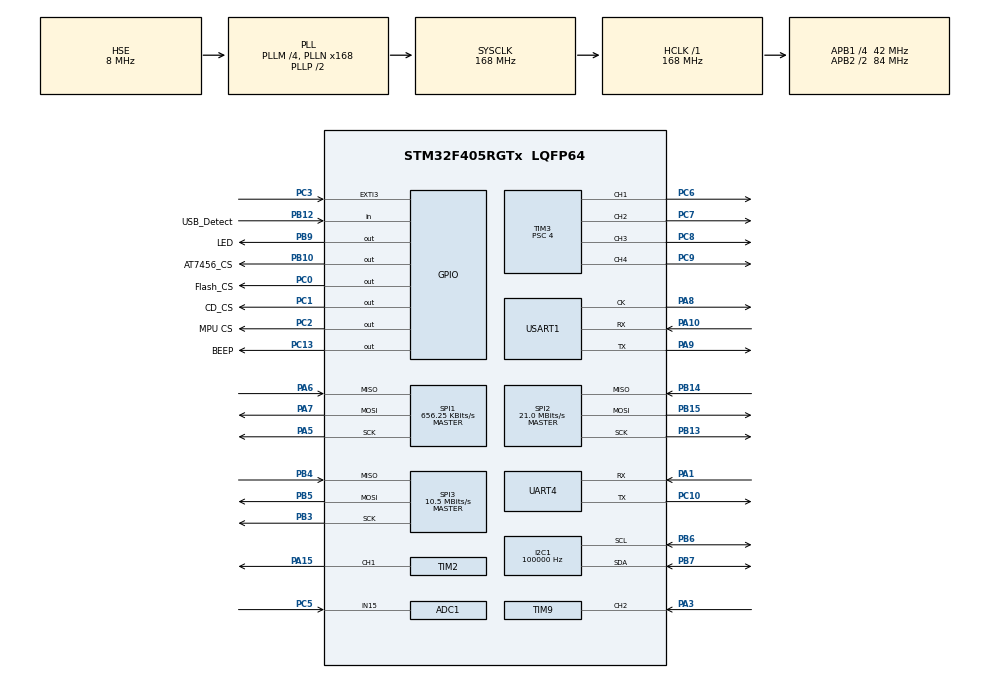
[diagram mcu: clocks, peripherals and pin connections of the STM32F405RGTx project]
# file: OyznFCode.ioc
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ADC1.Channel-0\#ChannelRegularConversion=ADC_CHANNEL_15
ADC1.ClockPrescaler=ADC_CLOCK_SYNC_PCLK_DIV8
ADC1.ContinuousConvMode=ENABLE
ADC1.DMAContinuousRequests=ENABLE
ADC1.ExternalTrigConv=ADC_SOFTWARE_START
ADC1.InjNumberOfConversion=0
ADC1.NbrOfConversion=1
ADC1.NbrOfConversionFlag=1
ADC1.Rank-0\#ChannelRegularConversion=1
ADC1.SamplingTime-0\#ChannelRegularConversion=ADC_SAMPLETIME_56CYCLES
ADC1.master=1
Dma.ADC1.6.Direction=DMA_PERIPH_TO_MEMORY
Dma.ADC1.6.FIFOMode=DMA_FIFOMODE_DISABLE
Dma.ADC1.6.Instance=DMA2_Stream4
Dma.ADC1.6.MemDataAlignment=DMA_MDATAALIGN_HALFWORD
Dma.ADC1.6.MemInc=DMA_MINC_DISABLE
Dma.ADC1.6.Mode=DMA_CIRCULAR
Dma.ADC1.6.PeriphDataAlignment=DMA_PDATAALIGN_HALFWORD
Dma.ADC1.6.PeriphInc=DMA_PINC_DISABLE
Dma.ADC1.6.Priority=DMA_PRIORITY_HIGH
Dma.I2C1_RX.4.Direction=DMA_PERIPH_TO_MEMORY
Dma.I2C1_RX.4.FIFOMode=DMA_FIFOMODE_DISABLE
Dma.I2C1_RX.4.Instance=DMA1_Stream0
Dma.I2C1_RX.4.MemDataAlignment=DMA_MDATAALIGN_BYTE
Dma.I2C1_RX.4.MemInc=DMA_MINC_ENABLE
Dma.I2C1_RX.4.Mode=DMA_NORMAL
Dma.I2C1_RX.4.PeriphDataAlignment=DMA_PDATAALIGN_BYTE
Dma.I2C1_RX.4.PeriphInc=DMA_PINC_DISABLE
Dma.I2C1_RX.4.Priority=DMA_PRIORITY_LOW
Dma.I2C1_TX.5.Direction=DMA_MEMORY_TO_PERIPH
Dma.I2C1_TX.5.FIFOMode=DMA_FIFOMODE_DISABLE
Dma.I2C1_TX.5.Instance=DMA1_Stream6
Dma.I2C1_TX.5.MemDataAlignment=DMA_MDATAALIGN_BYTE
Dma.I2C1_TX.5.MemInc=DMA_MINC_ENABLE
Dma.I2C1_TX.5.Mode=DMA_NORMAL
Dma.I2C1_TX.5.PeriphDataAlignment=DMA_PDATAALIGN_BYTE
Dma.I2C1_TX.5.PeriphInc=DMA_PINC_DISABLE
Dma.I2C1_TX.5.Priority=DMA_PRIORITY_LOW
Dma.Request0=SPI1_RX
Dma.Request1=SPI1_TX
Dma.Request2=SPI3_RX
Dma.Request3=SPI3_TX
Dma.Request4=I2C1_RX
Dma.Request5=I2C1_TX
Dma.Request6=ADC1
Dma.Request7=TIM2_CH1
Dma.SPI1_RX.0.Direction=DMA_PERIPH_TO_MEMORY
Dma.SPI1_RX.0.FIFOMode=DMA_FIFOMODE_DISABLE
Dma.SPI1_RX.0.Instance=DMA2_Stream0
Dma.SPI1_RX.0.MemDataAlignment=DMA_MDATAALIGN_BYTE
Dma.SPI1_RX.0.MemInc=DMA_MINC_ENABLE
Dma.SPI1_RX.0.Mode=DMA_NORMAL
Dma.SPI1_RX.0.PeriphDataAlignment=DMA_PDATAALIGN_BYTE
Dma.SPI1_RX.0.PeriphInc=DMA_PINC_DISABLE
Dma.SPI1_RX.0.Priority=DMA_PRIORITY_HIGH
Dma.SPI1_TX.1.Direction=DMA_MEMORY_TO_PERIPH
Dma.SPI1_TX.1.FIFOMode=DMA_FIFOMODE_DISABLE
Dma.SPI1_TX.1.Instance=DMA2_Stream5
Dma.SPI1_TX.1.MemDataAlignment=DMA_MDATAALIGN_BYTE
Dma.SPI1_TX.1.MemInc=DMA_MINC_ENABLE
Dma.SPI1_TX.1.Mode=DMA_NORMAL
Dma.SPI1_TX.1.PeriphDataAlignment=DMA_PDATAALIGN_BYTE
Dma.SPI1_TX.1.PeriphInc=DMA_PINC_DISABLE
Dma.SPI1_TX.1.Priority=DMA_PRIORITY_HIGH
Dma.SPI3_RX.2.Direction=DMA_PERIPH_TO_MEMORY
Dma.SPI3_RX.2.FIFOMode=DMA_FIFOMODE_DISABLE
Dma.SPI3_RX.2.Instance=DMA1_Stream2
Dma.SPI3_RX.2.MemDataAlignment=DMA_MDATAALIGN_BYTE
Dma.SPI3_RX.2.MemInc=DMA_MINC_ENABLE
Dma.SPI3_RX.2.Mode=DMA_NORMAL
Dma.SPI3_RX.2.PeriphDataAlignment=DMA_PDATAALIGN_BYTE
Dma.SPI3_RX.2.PeriphInc=DMA_PINC_DISABLE
Dma.SPI3_RX.2.Priority=DMA_PRIORITY_LOW
Dma.SPI3_TX.3.Direction=DMA_MEMORY_TO_PERIPH
Dma.SPI3_TX.3.FIFOMode=DMA_FIFOMODE_DISABLE
Dma.SPI3_TX.3.Instance=DMA1_Stream7
Dma.SPI3_TX.3.MemDataAlignment=DMA_MDATAALIGN_BYTE
Dma.SPI3_TX.3.MemInc=DMA_MINC_ENABLE
Dma.SPI3_TX.3.Mode=DMA_NORMAL
Dma.SPI3_TX.3.PeriphDataAlignment=DMA_PDATAALIGN_BYTE
Dma.SPI3_TX.3.PeriphInc=DMA_PINC_DISABLE
Dma.SPI3_TX.3.Priority=DMA_PRIORITY_LOW
Dma.TIM2_CH1.7.Direction=DMA_MEMORY_TO_PERIPH
Dma.TIM2_CH1.7.FIFOMode=DMA_FIFOMODE_DISABLE
Dma.TIM2_CH1.7.Instance=DMA1_Stream5
Dma.TIM2_CH1.7.MemDataAlignment=DMA_MDATAALIGN_WORD
Dma.TIM2_CH1.7.MemInc=DMA_MINC_ENABLE
Dma.TIM2_CH1.7.Mode=DMA_CIRCULAR
Dma.TIM2_CH1.7.PeriphDataAlignment=DMA_PDATAALIGN_WORD
Dma.TIM2_CH1.7.PeriphInc=DMA_PINC_DISABLE
Dma.TIM2_CH1.7.Priority=DMA_PRIORITY_HIGH
FATFS._CODE_PAGE=949
FATFS._FS_REENTRANT=0
FATFS._MAX_SS=4096
FATFS._USE_LFN=1
FREERTOS.INCLUDE_eTaskGetState=1
FREERTOS.INCLUDE_vTaskDelayUntil=1
FREERTOS.Tasks01=defaultTask,0,128,StartDefaultTask,Default,NULL
FREERTOS.configCHECK_FOR_STACK_OVERFLOW=1
FREERTOS.configENABLE_FPU=1
FREERTOS.configGENERATE_RUN_TIME_STATS=1
FREERTOS.configTOTAL_HEAP_SIZE=32000
FREERTOS.configUSE_APPLICATION_TASK_TAG=1
FREERTOS.configUSE_IDLE_HOOK=1
FREERTOS.configUSE_MALLOC_FAILED_HOOK=1
FREERTOS.configUSE_STATS_FORMATTING_FUNCTIONS=1
FREERTOS.configUSE_TICK_HOOK=1
FREERTOS.configUSE_TRACE_FACILITY=1
I2C1.ClockSpeed=100000
I2C1.DualAddressMode=I2C_DUALADDRESS_DISABLE
I2C1.GeneralCallMode=I2C_GENERALCALL_DISABLE
I2C1.I2C_Mode=I2C_Standard
I2C1.OwnAddress=0x0A
Mcu.Family=STM32F4
Mcu.Name=STM32F405RGTx
Mcu.Package=LQFP64
NVIC.DMA1_Stream0_IRQn=true\:7\:0\:true\:false\:true\:true\:false\:true
NVIC.DMA1_Stream2_IRQn=true\:7\:0\:true\:false\:true\:true\:false\:true
NVIC.DMA1_Stream5_IRQn=true\:5\:0\:false\:false\:true\:true\:false\:true
NVIC.DMA1_Stream6_IRQn=true\:7\:0\:true\:false\:true\:true\:false\:true
NVIC.DMA1_Stream7_IRQn=true\:7\:0\:true\:false\:true\:true\:false\:true
NVIC.DMA2_Stream0_IRQn=true\:7\:0\:true\:false\:true\:true\:false\:true
NVIC.DMA2_Stream4_IRQn=true\:7\:0\:true\:false\:true\:true\:false\:true
NVIC.DMA2_Stream5_IRQn=true\:7\:0\:true\:false\:true\:true\:false\:true
NVIC.PriorityGroup=NVIC_PRIORITYGROUP_4
NVIC.TIM1_BRK_TIM9_IRQn=true\:5\:0\:false\:false\:true\:true\:true\:true
NVIC.TIM1_UP_TIM10_IRQn=true\:15\:0\:false\:false\:true\:false\:false\:true
NVIC.TimeBase=TIM1_UP_TIM10_IRQn
NVIC.TimeBaseIP=TIM1
PA1.Mode=Asynchronous
PA1.Signal=UART4_RX
PA10.Mode=Synchronous
PA10.Signal=USART1_RX
PA11.Signal=USB_OTG_FS_DM
PA12.Signal=USB_OTG_FS_DP
PA13.Mode=Serial_Wire
PA13.Signal=SYS_JTMS-SWDIO
PA14.Mode=Serial_Wire
PA14.Signal=SYS_JTCK-SWCLK
PA15.Signal=S_TIM2_CH1_ETR
PA3.GPIO_PuPd=GPIO_PULLUP
PA3.GPIO_Speed=GPIO_SPEED_FREQ_HIGH
PA3.Signal=S_TIM9_CH2
PA5.GPIO_PuPd=GPIO_PULLUP
PA5.Mode=Full_Duplex_Master
PA5.Signal=SPI1_SCK
PA6.GPIO_PuPd=GPIO_PULLUP
PA6.Mode=Full_Duplex_Master
PA6.Signal=SPI1_MISO
PA7.GPIO_PuPd=GPIO_PULLUP
PA7.Mode=Full_Duplex_Master
PA7.Signal=SPI1_MOSI
PA8.Mode=Synchronous
PA8.Signal=USART1_CK
PA9.Mode=Synchronous
PA9.Signal=USART1_TX
PB10.GPIO_Label=AT7456_CS
PB10.Signal=GPIO_Output
PB12.GPIO_Label=USB_Detect
PB12.Signal=GPIO_Input
PB13.Mode=Full_Duplex_Master
PB13.Signal=SPI2_SCK
PB14.Mode=Full_Duplex_Master
PB14.Signal=SPI2_MISO
PB15.Mode=Full_Duplex_Master
PB15.Signal=SPI2_MOSI
PB3.Mode=Full_Duplex_Master
PB3.Signal=SPI3_SCK
PB4.Mode=Full_Duplex_Master
PB4.Signal=SPI3_MISO
PB5.Mode=Full_Duplex_Master
PB5.Signal=SPI3_MOSI
PB6.GPIO_Mode=GPIO_MODE_AF_OD
PB6.GPIO_Pu=GPIO_NOPULL
PB6.Mode=I2C
PB6.Signal=I2C1_SCL
PB7.GPIO_Pu=GPIO_NOPULL
PB7.Mode=I2C
PB7.Signal=I2C1_SDA
PB9.GPIO_Label=LED
PB9.Signal=GPIO_Output
PC0.GPIO_Label=Flash_CS
PC0.Signal=GPIO_Output
PC1.GPIO_Label=CD_CS
PC1.Signal=GPIO_Output
PC10.Mode=Asynchronous
PC10.Signal=UART4_TX
PC13-ANTI_TAMP.GPIO_Label=BEEP
PC13-ANTI_TAMP.Signal=GPIO_Output
PC2.GPIO_Label=MPU CS
PC2.GPIO_PuPd=GPIO_PULLUP
PC2.GPIO_Speed=GPIO_SPEED_FREQ_HIGH
PC2.Signal=GPIO_Output
PC3.Signal=GPXTI3
PC5.Signal=ADCx_IN15
PC6.GPIO_PuPd=GPIO_PULLUP
PC6.GPIO_Speed=GPIO_SPEED_FREQ_HIGH
PC6.Signal=S_TIM3_CH1
PC7.Signal=S_TIM3_CH2
PC8.GPIO_PuPd=GPIO_PULLUP
PC8.GPIO_Speed=GPIO_SPEED_FREQ_HIGH
PC8.Signal=S_TIM3_CH3
PC9.GPIO_PuPd=GPIO_PULLUP
PC9.GPIO_Speed=GPIO_SPEED_FREQ_HIGH
PC9.Signal=S_TIM3_CH4
PH0-OSC_IN.Mode=HSE-External-Oscillator
PH0-OSC_IN.Signal=RCC_OSC_IN
PH1-OSC_OUT.Mode=HSE-External-Oscillator
PH1-OSC_OUT.Signal=RCC_OSC_OUT
ProjectManager.HeapSize=0x1000
ProjectManager.StackSize=0x1000
ProjectManager.TargetToolchain=STM32CubeIDE
RCC.48MHZClocksFreq_Value=48000000
RCC.AHBFreq_Value=168000000
RCC.APB1CLKDivider=RCC_HCLK_DIV4
RCC.APB1Freq_Value=42000000
RCC.APB1TimFreq_Value=84000000
RCC.APB2CLKDivider=RCC_HCLK_DIV2
RCC.APB2Freq_Value=84000000
RCC.APB2TimFreq_Value=168000000
RCC.CortexFreq_Value=168000000
RCC.HCLKFreq_Value=168000000
RCC.HSE_VALUE=8000000
RCC.HSI_VALUE=16000000
RCC.LSE_VALUE=32768
RCC.PLLM=4
RCC.PLLN=168
RCC.PLLQ=7
RCC.PLLSourceVirtual=RCC_PLLSOURCE_HSE
RCC.SYSCLKFreq_VALUE=168000000
RCC.SYSCLKSource=RCC_SYSCLKSOURCE_PLLCLK
RCC.VCOOutputFreq_Value=336000000
SH.ADCx_IN15.0=ADC1_IN15,IN15
SH.S_TIM2_CH1_ETR.0=TIM2_CH1,Output Compare1 CH1
SH.S_TIM3_CH1.0=TIM3_CH1,PWM Generation1 CH1
SH.S_TIM3_CH2.0=TIM3_CH2,PWM Generation2 CH2
SH.S_TIM3_CH3.0=TIM3_CH3,PWM Generation3 CH3
SH.S_TIM3_CH4.0=TIM3_CH4,PWM Generation4 CH4
SH.S_TIM9_CH2.0=TIM9_CH2,Input_Capture2_from_TI2
SPI1.BaudRatePrescaler=SPI_BAUDRATEPRESCALER_128
SPI1.CLKPhase=SPI_PHASE_2EDGE
SPI1.CLKPolarity=SPI_POLARITY_HIGH
SPI1.CRCCalculation=SPI_CRCCALCULATION_DISABLE
SPI1.CalculateBaudRate=656.25 KBits/s
SPI1.Direction=SPI_DIRECTION_2LINES
SPI1.Mode=SPI_MODE_MASTER
SPI1.VirtualType=VM_MASTER
SPI2.CalculateBaudRate=21.0 MBits/s
SPI2.Direction=SPI_DIRECTION_2LINES
SPI2.Mode=SPI_MODE_MASTER
SPI2.VirtualType=VM_MASTER
SPI3.BaudRatePrescaler=SPI_BAUDRATEPRESCALER_4
SPI3.CLKPhase=SPI_PHASE_1EDGE
SPI3.CLKPolarity=SPI_POLARITY_LOW
SPI3.CalculateBaudRate=10.5 MBits/s
SPI3.Direction=SPI_DIRECTION_2LINES
SPI3.Mode=SPI_MODE_MASTER
SPI3.VirtualType=VM_MASTER
TIM2.AutoReloadPreload=TIM_AUTORELOAD_PRELOAD_ENABLE
TIM2.Channel-Output\ Compare1\ CH1=TIM_CHANNEL_1
TIM2.OCMode_1=TIM_OCMODE_TOGGLE
TIM2.Period=105 - 1
TIM3.AutoReloadPreload=TIM_AUTORELOAD_PRELOAD_ENABLE
TIM3.Channel-PWM\ Generation1\ CH1=TIM_CHANNEL_1
TIM3.Channel-PWM\ Generation2\ CH2=TIM_CHANNEL_2
TIM3.Channel-PWM\ Generation3\ CH3=TIM_CHANNEL_3
TIM3.Channel-PWM\ Generation4\ CH4=TIM_CHANNEL_4
TIM3.Prescaler=4
TIM9.AutoReloadPreload=TIM_AUTORELOAD_PRELOAD_ENABLE
TIM9.Channel-Input_Capture2_from_TI2=TIM_CHANNEL_2
TIM9.ICFilter_CH2=8
TIM9.ICPolarity_CH2=TIM_INPUTCHANNELPOLARITY_RISING
TIM9.Period=65535
TIM9.Prescaler=168-1
UART4.VirtualMode=Asynchronous
USART1.VirtualMode=VM_SYNC
VP_FATFS_VS_Generic.Mode=User_defined
VP_FREERTOS_VS_CMSIS_V1.Mode=CMSIS_V1
VP_SYS_VS_tim1.Mode=TIM1
board=custom

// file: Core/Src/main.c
/* USER CODE BEGIN Header */
/**
  ******************************************************************************
  * @file           : main.c
  * @brief          : Main program body
  ******************************************************************************
  * @attention
  *
  * <h2><center>&copy; Copyright (c) 2021 STMicroelectronics.
  * All rights reserved.</center></h2>
  *
  * This software component is licensed by ST under BSD 3-Clause license,
  * the "License"; You may not use this file except in compliance with the
  * License. You may obtain a copy of the License at:
  *                        opensource.org/licenses/BSD-3-Clause
  *
  ******************************************************************************
  */
/* USER CODE END Header */
#include "main.h"
#include "cmsis_os.h"
#include "fatfs.h"

/* USER CODE BEGIN Includes */
#include "system.h"	/*ͷ�ļ�����*/

#include "../../MyFATFS/exfuns.h"
/* USER CODE END Includes */

ADC_HandleTypeDef hadc1;
DMA_HandleTypeDef hdma_adc1;

I2C_HandleTypeDef hi2c1;
DMA_HandleTypeDef hdma_i2c1_rx;
DMA_HandleTypeDef hdma_i2c1_tx;

SPI_HandleTypeDef hspi1;
SPI_HandleTypeDef hspi2;
SPI_HandleTypeDef hspi3;
DMA_HandleTypeDef hdma_spi1_rx;
DMA_HandleTypeDef hdma_spi1_tx;
DMA_HandleTypeDef hdma_spi3_rx;
DMA_HandleTypeDef hdma_spi3_tx;

TIM_HandleTypeDef htim2;
TIM_HandleTypeDef htim3;
TIM_HandleTypeDef htim9;
DMA_HandleTypeDef hdma_tim2_ch1;

UART_HandleTypeDef huart4;
USART_HandleTypeDef husart1;

osThreadId defaultTaskHandle;

void SystemClock_Config(void);
static void MX_GPIO_Init(void);
static void MX_DMA_Init(void);
static void MX_SPI1_Init(void);
static void MX_I2C1_Init(void);
static void MX_SPI3_Init(void);
static void MX_USART1_Init(void);
static void MX_ADC1_Init(void);
static void MX_SPI2_Init(void);
static void MX_UART4_Init(void);
static void MX_TIM3_Init(void);
static void MX_TIM9_Init(void);
static void MX_TIM2_Init(void);
void StartDefaultTask(void const * argument);

int main(void)
{

  /* MCU Configuration--------------------------------------------------------*/

  /* Reset of all peripherals, Initializes the Flash interface and the Systick. */
  HAL_Init();

  /* Configure the system clock */
  SystemClock_Config();

  /* Initialize all configured peripherals */
  MX_GPIO_Init();
  MX_DMA_Init();
  MX_SPI1_Init();
  MX_I2C1_Init();
  MX_SPI3_Init();
  MX_FATFS_Init();
  MX_USART1_Init();
  MX_ADC1_Init();
  MX_SPI2_Init();
  MX_UART4_Init();
  MX_TIM3_Init();
  MX_TIM9_Init();
  MX_TIM2_Init();
  /* USER CODE BEGIN 2 */
  systemInit();			/*�ײ�Ӳ����ʼ��*/
  //TestFatfs();
  HAL_TIM_IC_Start_IT(&htim9,TIM_CHANNEL_2);
  //HAL_TIM_Base_Start_IT(&htim3);
//  HAL_Delay(500);
//  TestFatfs2();
  /* USER CODE END 2 */

  /* Create the thread(s) */
  /* definition and creation of defaultTask */
  osThreadDef(defaultTask, StartDefaultTask, osPriorityNormal, 0, 128);
  defaultTaskHandle = osThreadCreate(osThread(defaultTask), NULL);

  /* Start scheduler */
  osKernelStart();

  /* We should never get here as control is now taken by the scheduler */
  /* Infinite loop */
  while (1)
  {

  }
}

void SystemClock_Config(void)
{
  RCC_OscInitTypeDef RCC_OscInitStruct = {0};
  RCC_ClkInitTypeDef RCC_ClkInitStruct = {0};

  /** Configure the main internal regulator output voltage
  */
  __HAL_RCC_PWR_CLK_ENABLE();
  __HAL_PWR_VOLTAGESCALING_CONFIG(PWR_REGULATOR_VOLTAGE_SCALE1);
  /** Initializes the RCC Oscillators according to the specified parameters
  * in the RCC_OscInitTypeDef structure.
  */
  RCC_OscInitStruct.OscillatorType = RCC_OSCILLATORTYPE_HSE;
  RCC_OscInitStruct.HSEState = RCC_HSE_ON;
  RCC_OscInitStruct.PLL.PLLState = RCC_PLL_ON;
  RCC_OscInitStruct.PLL.PLLSource = RCC_PLLSOURCE_HSE;
  RCC_OscInitStruct.PLL.PLLM = 4;
  RCC_OscInitStruct.PLL.PLLN = 168;
  RCC_OscInitStruct.PLL.PLLP = RCC_PLLP_DIV2;
  RCC_OscInitStruct.PLL.PLLQ = 7;
  if (HAL_RCC_OscConfig(&RCC_OscInitStruct) != HAL_OK)
  {
    Error_Handler();
  }
  /** Initializes the CPU, AHB and APB buses clocks
  */
  RCC_ClkInitStruct.ClockType = RCC_CLOCKTYPE_HCLK|RCC_CLOCKTYPE_SYSCLK
                              |RCC_CLOCKTYPE_PCLK1|RCC_CLOCKTYPE_PCLK2;
  RCC_ClkInitStruct.SYSCLKSource = RCC_SYSCLKSOURCE_PLLCLK;
  RCC_ClkInitStruct.AHBCLKDivider = RCC_SYSCLK_DIV1;
  RCC_ClkInitStruct.APB1CLKDivider = RCC_HCLK_DIV4;
  RCC_ClkInitStruct.APB2CLKDivider = RCC_HCLK_DIV2;

  if (HAL_RCC_ClockConfig(&RCC_ClkInitStruct, FLASH_LATENCY_5) != HAL_OK)
  {
    Error_Handler();
  }
}

static void MX_ADC1_Init(void)
{

  ADC_ChannelConfTypeDef sConfig = {0};

  /** Configure the global features of the ADC (Clock, Resolution, Data Alignment and number of conversion)
  */
  hadc1.Instance = ADC1;
  hadc1.Init.ClockPrescaler = ADC_CLOCK_SYNC_PCLK_DIV8;
  hadc1.Init.Resolution = ADC_RESOLUTION_12B;
  hadc1.Init.ScanConvMode = DISABLE;
  hadc1.Init.ContinuousConvMode = ENABLE;
  hadc1.Init.DiscontinuousConvMode = DISABLE;
  hadc1.Init.ExternalTrigConvEdge = ADC_EXTERNALTRIGCONVEDGE_NONE;
  hadc1.Init.ExternalTrigConv = ADC_SOFTWARE_START;
  hadc1.Init.DataAlign = ADC_DATAALIGN_RIGHT;
  hadc1.Init.NbrOfConversion = 1;
  hadc1.Init.DMAContinuousRequests = ENABLE;
  hadc1.Init.EOCSelection = ADC_EOC_SINGLE_CONV;
  if (HAL_ADC_Init(&hadc1) != HAL_OK)
  {
    Error_Handler();
  }
  /** Configure for the selected ADC regular channel its corresponding rank in the sequencer and its sample time.
  */
  sConfig.Channel = ADC_CHANNEL_15;
  sConfig.Rank = 1;
  sConfig.SamplingTime = ADC_SAMPLETIME_56CYCLES;
  if (HAL_ADC_ConfigChannel(&hadc1, &sConfig) != HAL_OK)
  {
    Error_Handler();
  }

}

static void MX_I2C1_Init(void)
{

  hi2c1.Instance = I2C1;
  hi2c1.Init.ClockSpeed = 100000;
  hi2c1.Init.DutyCycle = I2C_DUTYCYCLE_2;
  hi2c1.Init.OwnAddress1 = 20;
  hi2c1.Init.AddressingMode = I2C_ADDRESSINGMODE_7BIT;
  hi2c1.Init.DualAddressMode = I2C_DUALADDRESS_DISABLE;
  hi2c1.Init.OwnAddress2 = 0;
  hi2c1.Init.GeneralCallMode = I2C_GENERALCALL_DISABLE;
  hi2c1.Init.NoStretchMode = I2C_NOSTRETCH_DISABLE;
  if (HAL_I2C_Init(&hi2c1) != HAL_OK)
  {
    Error_Handler();
  }

}

static void MX_SPI1_Init(void)
{

  /* SPI1 parameter configuration*/
  hspi1.Instance = SPI1;
  hspi1.Init.Mode = SPI_MODE_MASTER;
  hspi1.Init.Direction = SPI_DIRECTION_2LINES;
  hspi1.Init.DataSize = SPI_DATASIZE_8BIT;
  hspi1.Init.CLKPolarity = SPI_POLARITY_HIGH;
  hspi1.Init.CLKPhase = SPI_PHASE_2EDGE;
  hspi1.Init.NSS = SPI_NSS_SOFT;
  hspi1.Init.BaudRatePrescaler = SPI_BAUDRATEPRESCALER_128;
  hspi1.Init.FirstBit = SPI_FIRSTBIT_MSB;
  hspi1.Init.TIMode = SPI_TIMODE_DISABLE;
  hspi1.Init.CRCCalculation = SPI_CRCCALCULATION_DISABLE;
  hspi1.Init.CRCPolynomial = 10;
  if (HAL_SPI_Init(&hspi1) != HAL_OK)
  {
    Error_Handler();
  }

}

static void MX_SPI2_Init(void)
{

  /* SPI2 parameter configuration*/
  hspi2.Instance = SPI2;
  hspi2.Init.Mode = SPI_MODE_MASTER;
  hspi2.Init.Direction = SPI_DIRECTION_2LINES;
  hspi2.Init.DataSize = SPI_DATASIZE_8BIT;
  hspi2.Init.CLKPolarity = SPI_POLARITY_LOW;
  hspi2.Init.CLKPhase = SPI_PHASE_1EDGE;
  hspi2.Init.NSS = SPI_NSS_SOFT;
  hspi2.Init.BaudRatePrescaler = SPI_BAUDRATEPRESCALER_2;
  hspi2.Init.FirstBit = SPI_FIRSTBIT_MSB;
  hspi2.Init.TIMode = SPI_TIMODE_DISABLE;
  hspi2.Init.CRCCalculation = SPI_CRCCALCULATION_DISABLE;
  hspi2.Init.CRCPolynomial = 10;
  if (HAL_SPI_Init(&hspi2) != HAL_OK)
  {
    Error_Handler();
  }

}

static void MX_SPI3_Init(void)
{

  /* SPI3 parameter configuration*/
  hspi3.Instance = SPI3;
  hspi3.Init.Mode = SPI_MODE_MASTER;
  hspi3.Init.Direction = SPI_DIRECTION_2LINES;
  hspi3.Init.DataSize = SPI_DATASIZE_8BIT;
  hspi3.Init.CLKPolarity = SPI_POLARITY_LOW;
  hspi3.Init.CLKPhase = SPI_PHASE_1EDGE;
  hspi3.Init.NSS = SPI_NSS_SOFT;
  hspi3.Init.BaudRatePrescaler = SPI_BAUDRATEPRESCALER_4;
  hspi3.Init.FirstBit = SPI_FIRSTBIT_MSB;
  hspi3.Init.TIMode = SPI_TIMODE_DISABLE;
  hspi3.Init.CRCCalculation = SPI_CRCCALCULATION_DISABLE;
  hspi3.Init.CRCPolynomial = 10;
  if (HAL_SPI_Init(&hspi3) != HAL_OK)
  {
    Error_Handler();
  }

}

static void MX_TIM2_Init(void)
{

  TIM_MasterConfigTypeDef sMasterConfig = {0};
  TIM_OC_InitTypeDef sConfigOC = {0};

  htim2.Instance = TIM2;
  htim2.Init.Prescaler = 0;
  htim2.Init.CounterMode = TIM_COUNTERMODE_UP;
  htim2.Init.Period = 105 - 1;
  htim2.Init.ClockDivision = TIM_CLOCKDIVISION_DIV1;
  htim2.Init.AutoReloadPreload = TIM_AUTORELOAD_PRELOAD_ENABLE;
  if (HAL_TIM_OC_Init(&htim2) != HAL_OK)
  {
    Error_Handler();
  }
  sMasterConfig.MasterOutputTrigger = TIM_TRGO_RESET;
  sMasterConfig.MasterSlaveMode = TIM_MASTERSLAVEMODE_DISABLE;
  if (HAL_TIMEx_MasterConfigSynchronization(&htim2, &sMasterConfig) != HAL_OK)
  {
    Error_Handler();
  }
  sConfigOC.OCMode = TIM_OCMODE_TOGGLE;
  sConfigOC.Pulse = 0;
  sConfigOC.OCPolarity = TIM_OCPOLARITY_HIGH;
  sConfigOC.OCFastMode = TIM_OCFAST_DISABLE;
  if (HAL_TIM_OC_ConfigChannel(&htim2, &sConfigOC, TIM_CHANNEL_1) != HAL_OK)
  {
    Error_Handler();
  }
  HAL_TIM_MspPostInit(&htim2);

}

static void MX_TIM3_Init(void)
{

  TIM_MasterConfigTypeDef sMasterConfig = {0};
  TIM_OC_InitTypeDef sConfigOC = {0};

  htim3.Instance = TIM3;
  htim3.Init.Prescaler = 4;
  htim3.Init.CounterMode = TIM_COUNTERMODE_UP;
  htim3.Init.Period = 65535;
  htim3.Init.ClockDivision = TIM_CLOCKDIVISION_DIV1;
  htim3.Init.AutoReloadPreload = TIM_AUTORELOAD_PRELOAD_ENABLE;
  if (HAL_TIM_PWM_Init(&htim3) != HAL_OK)
  {
    Error_Handler();
  }
  sMasterConfig.MasterOutputTrigger = TIM_TRGO_RESET;
  sMasterConfig.MasterSlaveMode = TIM_MASTERSLAVEMODE_DISABLE;
  if (HAL_TIMEx_MasterConfigSynchronization(&htim3, &sMasterConfig) != HAL_OK)
  {
    Error_Handler();
  }
  sConfigOC.OCMode = TIM_OCMODE_PWM1;
  sConfigOC.Pulse = 0;
  sConfigOC.OCPolarity = TIM_OCPOLARITY_HIGH;
  sConfigOC.OCFastMode = TIM_OCFAST_DISABLE;
  if (HAL_TIM_PWM_ConfigChannel(&htim3, &sConfigOC, TIM_CHANNEL_1) != HAL_OK)
  {
    Error_Handler();
  }
  if (HAL_TIM_PWM_ConfigChannel(&htim3, &sConfigOC, TIM_CHANNEL_2) != HAL_OK)
  {
    Error_Handler();
  }
  if (HAL_TIM_PWM_ConfigChannel(&htim3, &sConfigOC, TIM_CHANNEL_3) != HAL_OK)
  {
    Error_Handler();
  }
  if (HAL_TIM_PWM_ConfigChannel(&htim3, &sConfigOC, TIM_CHANNEL_4) != HAL_OK)
  {
    Error_Handler();
  }
  HAL_TIM_MspPostInit(&htim3);

}

static void MX_TIM9_Init(void)
{

  TIM_IC_InitTypeDef sConfigIC = {0};

  htim9.Instance = TIM9;
  htim9.Init.Prescaler = 168-1;
  htim9.Init.CounterMode = TIM_COUNTERMODE_UP;
  htim9.Init.Period = 65535;
  htim9.Init.ClockDivision = TIM_CLOCKDIVISION_DIV1;
  htim9.Init.AutoReloadPreload = TIM_AUTORELOAD_PRELOAD_ENABLE;
  if (HAL_TIM_IC_Init(&htim9) != HAL_OK)
  {
    Error_Handler();
  }
  sConfigIC.ICPolarity = TIM_INPUTCHANNELPOLARITY_RISING;
  sConfigIC.ICSelection = TIM_ICSELECTION_DIRECTTI;
  sConfigIC.ICPrescaler = TIM_ICPSC_DIV1;
  sConfigIC.ICFilter = 8;
  if (HAL_TIM_IC_ConfigChannel(&htim9, &sConfigIC, TIM_CHANNEL_2) != HAL_OK)
  {
    Error_Handler();
  }

}

static void MX_UART4_Init(void)
{

  huart4.Instance = UART4;
  huart4.Init.BaudRate = 115200;
  huart4.Init.WordLength = UART_WORDLENGTH_8B;
  huart4.Init.StopBits = UART_STOPBITS_1;
  huart4.Init.Parity = UART_PARITY_NONE;
  huart4.Init.Mode = UART_MODE_TX_RX;
  huart4.Init.HwFlowCtl = UART_HWCONTROL_NONE;
  huart4.Init.OverSampling = UART_OVERSAMPLING_16;
  if (HAL_UART_Init(&huart4) != HAL_OK)
  {
    Error_Handler();
  }

}

static void MX_USART1_Init(void)
{

  husart1.Instance = USART1;
  husart1.Init.BaudRate = 115200;
  husart1.Init.WordLength = USART_WORDLENGTH_8B;
  husart1.Init.StopBits = USART_STOPBITS_1;
  husart1.Init.Parity = USART_PARITY_NONE;
  husart1.Init.Mode = USART_MODE_TX_RX;
  husart1.Init.CLKPolarity = USART_POLARITY_LOW;
  husart1.Init.CLKPhase = USART_PHASE_1EDGE;
  husart1.Init.CLKLastBit = USART_LASTBIT_DISABLE;
  if (HAL_USART_Init(&husart1) != HAL_OK)
  {
    Error_Handler();
  }

}

static void MX_DMA_Init(void)
{

  /* DMA controller clock enable */
  __HAL_RCC_DMA2_CLK_ENABLE();
  __HAL_RCC_DMA1_CLK_ENABLE();

  /* DMA interrupt init */
  /* DMA1_Stream0_IRQn interrupt configuration */
  HAL_NVIC_SetPriority(DMA1_Stream0_IRQn, 7, 0);
  HAL_NVIC_EnableIRQ(DMA1_Stream0_IRQn);
  /* DMA1_Stream2_IRQn interrupt configuration */
  HAL_NVIC_SetPriority(DMA1_Stream2_IRQn, 7, 0);
  HAL_NVIC_EnableIRQ(DMA1_Stream2_IRQn);
  /* DMA1_Stream5_IRQn interrupt configuration */
  HAL_NVIC_SetPriority(DMA1_Stream5_IRQn, 5, 0);
  HAL_NVIC_EnableIRQ(DMA1_Stream5_IRQn);
  /* DMA1_Stream6_IRQn interrupt configuration */
  HAL_NVIC_SetPriority(DMA1_Stream6_IRQn, 7, 0);
  HAL_NVIC_EnableIRQ(DMA1_Stream6_IRQn);
  /* DMA1_Stream7_IRQn interrupt configuration */
  HAL_NVIC_SetPriority(DMA1_Stream7_IRQn, 7, 0);
  HAL_NVIC_EnableIRQ(DMA1_Stream7_IRQn);
  /* DMA2_Stream0_IRQn interrupt configuration */
  HAL_NVIC_SetPriority(DMA2_Stream0_IRQn, 7, 0);
  HAL_NVIC_EnableIRQ(DMA2_Stream0_IRQn);
  /* DMA2_Stream4_IRQn interrupt configuration */
  HAL_NVIC_SetPriority(DMA2_Stream4_IRQn, 7, 0);
  HAL_NVIC_EnableIRQ(DMA2_Stream4_IRQn);
  /* DMA2_Stream5_IRQn interrupt configuration */
  HAL_NVIC_SetPriority(DMA2_Stream5_IRQn, 7, 0);
  HAL_NVIC_EnableIRQ(DMA2_Stream5_IRQn);

}

static void MX_GPIO_Init(void)
{
  GPIO_InitTypeDef GPIO_InitStruct = {0};

  /* GPIO Ports Clock Enable */
  __HAL_RCC_GPIOC_CLK_ENABLE();
  __HAL_RCC_GPIOH_CLK_ENABLE();
  __HAL_RCC_GPIOA_CLK_ENABLE();
  __HAL_RCC_GPIOB_CLK_ENABLE();

  /*Configure GPIO pin Output Level */
  HAL_GPIO_WritePin(GPIOC, BEEP_Pin|Flash_CS_Pin|CD_CS_Pin|MPU_CS_Pin, GPIO_PIN_RESET);

  /*Configure GPIO pin Output Level */
  HAL_GPIO_WritePin(GPIOB, AT7456_CS_Pin|LED_Pin, GPIO_PIN_RESET);

  /*Configure GPIO pins : BEEP_Pin Flash_CS_Pin CD_CS_Pin */
  GPIO_InitStruct.Pin = BEEP_Pin|Flash_CS_Pin|CD_CS_Pin;
  GPIO_InitStruct.Mode = GPIO_MODE_OUTPUT_PP;
  GPIO_InitStruct.Pull = GPIO_NOPULL;
  GPIO_InitStruct.Speed = GPIO_SPEED_FREQ_LOW;
  HAL_GPIO_Init(GPIOC, &GPIO_InitStruct);

  /*Configure GPIO pin : MPU_CS_Pin */
  GPIO_InitStruct.Pin = MPU_CS_Pin;
  GPIO_InitStruct.Mode = GPIO_MODE_OUTPUT_PP;
  GPIO_InitStruct.Pull = GPIO_PULLUP;
  GPIO_InitStruct.Speed = GPIO_SPEED_FREQ_HIGH;
  HAL_GPIO_Init(MPU_CS_GPIO_Port, &GPIO_InitStruct);

  /*Configure GPIO pin : PC3 */
  GPIO_InitStruct.Pin = GPIO_PIN_3;
  GPIO_InitStruct.Mode = GPIO_MODE_IT_RISING;
  GPIO_InitStruct.Pull = GPIO_NOPULL;
  HAL_GPIO_Init(GPIOC, &GPIO_InitStruct);

  /*Configure GPIO pins : AT7456_CS_Pin LED_Pin */
  GPIO_InitStruct.Pin = AT7456_CS_Pin|LED_Pin;
  GPIO_InitStruct.Mode = GPIO_MODE_OUTPUT_PP;
  GPIO_InitStruct.Pull = GPIO_NOPULL;
  GPIO_InitStruct.Speed = GPIO_SPEED_FREQ_LOW;
  HAL_GPIO_Init(GPIOB, &GPIO_InitStruct);

  /*Configure GPIO pin : USB_Detect_Pin */
  GPIO_InitStruct.Pin = USB_Detect_Pin;
  GPIO_InitStruct.Mode = GPIO_MODE_INPUT;
  GPIO_InitStruct.Pull = GPIO_NOPULL;
  HAL_GPIO_Init(USB_Detect_GPIO_Port, &GPIO_InitStruct);

  /*Configure GPIO pins : PA11 PA12 */
  GPIO_InitStruct.Pin = GPIO_PIN_11|GPIO_PIN_12;
  GPIO_InitStruct.Mode = GPIO_MODE_AF_PP;
  GPIO_InitStruct.Pull = GPIO_NOPULL;
  GPIO_InitStruct.Speed = GPIO_SPEED_FREQ_VERY_HIGH;
  GPIO_InitStruct.Alternate = GPIO_AF10_OTG_FS;
  HAL_GPIO_Init(GPIOA, &GPIO_InitStruct);

}

void StartDefaultTask(void const * argument)
{
  /* USER CODE BEGIN 5 */
  /* Infinite loop */
  for(;;)
  {
	taskENTER_CRITICAL();	/*�����ٽ���*/
	xTaskCreate(sensorsTask, "SENSORS", 800, NULL, 5, NULL);			/*������������������*/
	xTaskCreate(stabilizerTask, "STABILIZER", 500, NULL, 5, NULL);		/*������̬���������ɿغ��ģ�����*/
	xTaskCreate(ppmTask, "PPM", 150, NULL, 4, NULL);					/*����ң����PPM�źŽ�������*/
	xTaskCreate(rxTask, "RX_TASK", 150, NULL, 4, NULL);					/*����ң����������������*/
	xTaskCreate(usblinkRxTask, "USBLINK_RX", 200, NULL, 3, NULL);		/*����usb��������*/
	xTaskCreate(usblinkTxTask, "USBLINK_TX", 200, NULL, 3, NULL);		/*����usb��������*/
	xTaskCreate(atkpTxTask, "ATKP_TX", 150, NULL, 3, NULL);				/*����atkp������������*/
	xTaskCreate(atkpRxAnlTask, "ATKP_RX_ANL", 300, NULL, 3, NULL);		/*����atkp��������*/
	xTaskCreate(pmTask, "PWRMGNT", 150, NULL, 1, NULL);					/*������Դ��������*/
	//xTaskCreate(beeperTask, "BEEPER", 200, NULL, 2, NULL);			/*��������������*/
	xTaskCreate(configParamTask, "CONFIG_TASK", 150, NULL, 1, NULL);	/*����������������*/
	//printf("Free heap: %d bytes\n", xPortGetFreeHeapSize());			/*��ӡʣ���ջ��С*/
	vTaskDelete(defaultTaskHandle);										/*ɾ����ʼ����*/
	taskEXIT_CRITICAL();	/*�˳��ٽ���*/
  }
  /* USER CODE END 5 */
}

void HAL_TIM_PeriodElapsedCallback(TIM_HandleTypeDef *htim)
{
  if (htim->Instance == TIM1) {
    HAL_IncTick();
  }
}

void Error_Handler(void)
{
}

/************************ (C) COPYRIGHT STMicroelectronics *****END OF FILE****/

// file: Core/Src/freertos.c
/* USER CODE BEGIN Header */
/**
  ******************************************************************************
  * File Name          : freertos.c
  * Description        : Code for freertos applications
  ******************************************************************************
  * @attention
  *
  * <h2><center>&copy; Copyright (c) 2021 STMicroelectronics.
  * All rights reserved.</center></h2>
  *
  * This software component is licensed by ST under Ultimate Liberty license
  * SLA0044, the "License"; You may not use this file except in compliance with
  * the License. You may obtain a copy of the License at:
  *                             www.st.com/SLA0044
  *
  ******************************************************************************
  */
/* USER CODE END Header */

#include "FreeRTOS.h"
#include "task.h"
#include "main.h"

/* GetIdleTaskMemory prototype (linked to static allocation support) */
void vApplicationGetIdleTaskMemory( StaticTask_t **ppxIdleTaskTCBBuffer, StackType_t **ppxIdleTaskStackBuffer, uint32_t *pulIdleTaskStackSize );

/* Hook prototypes */
void configureTimerForRunTimeStats(void);
unsigned long getRunTimeCounterValue(void);
void vApplicationIdleHook(void);
void vApplicationTickHook(void);
void vApplicationStackOverflowHook(xTaskHandle xTask, signed char *pcTaskName);
void vApplicationMallocFailedHook(void);

/* USER CODE BEGIN 1 */
/* Functions needed when configGENERATE_RUN_TIME_STATS is on */
__weak void configureTimerForRunTimeStats(void)
{

}

__weak unsigned long getRunTimeCounterValue(void)
{
return 0;
}
/* USER CODE END 1 */

/* USER CODE BEGIN 2 */
__weak void vApplicationIdleHook( void )
{
   /* vApplicationIdleHook() will only be called if configUSE_IDLE_HOOK is set
   to 1 in FreeRTOSConfig.h. It will be called on each iteration of the idle
   task. It is essential that code added to this hook function never attempts
   to block in any way (for example, call xQueueReceive() with a block time
   specified, or call vTaskDelay()). If the application makes use of the
   vTaskDelete() API function (as this demo application does) then it is also
   important that vApplicationIdleHook() is permitted to return to its calling
   function, because it is the responsibility of the idle task to clean up
   memory allocated by the kernel to any task that has since been deleted. */
}
/* USER CODE END 2 */

/* USER CODE BEGIN 3 */
__weak void vApplicationTickHook( void )
{
   /* This function will be called by each tick interrupt if
   configUSE_TICK_HOOK is set to 1 in FreeRTOSConfig.h. User code can be
   added here, but the tick hook is called from an interrupt context, so
   code must not attempt to block, and only the interrupt safe FreeRTOS API
   functions can be used (those that end in FromISR()). */
}
/* USER CODE END 3 */

/* USER CODE BEGIN 4 */
__weak void vApplicationStackOverflowHook(xTaskHandle xTask, signed char *pcTaskName)
{
   /* Run time stack overflow checking is performed if
   configCHECK_FOR_STACK_OVERFLOW is defined to 1 or 2. This hook function is
   called if a stack overflow is detected. */
}
/* USER CODE END 4 */

/* USER CODE BEGIN 5 */
__weak void vApplicationMallocFailedHook(void)
{
   /* vApplicationMallocFailedHook() will only be called if
   configUSE_MALLOC_FAILED_HOOK is set to 1 in FreeRTOSConfig.h. It is a hook
   function that will get called if a call to pvPortMalloc() fails.
   pvPortMalloc() is called internally by the kernel whenever a task, queue,
   timer or semaphore is created. It is also called by various parts of the
   demo application. If heap_1.c or heap_2.c are used, then the size of the
   heap available to pvPortMalloc() is defined by configTOTAL_HEAP_SIZE in
   FreeRTOSConfig.h, and the xPortGetFreeHeapSize() API function can be used
   to query the size of free heap space that remains (although it does not
   provide information on how the remaining heap might be fragmented). */
}
/* USER CODE END 5 */

/* USER CODE BEGIN GET_IDLE_TASK_MEMORY */
static StaticTask_t xIdleTaskTCBBuffer;
static StackType_t xIdleStack[configMINIMAL_STACK_SIZE];

void vApplicationGetIdleTaskMemory( StaticTask_t **ppxIdleTaskTCBBuffer, StackType_t **ppxIdleTaskStackBuffer, uint32_t *pulIdleTaskStackSize )
{
  *ppxIdleTaskTCBBuffer = &xIdleTaskTCBBuffer;
  *ppxIdleTaskStackBuffer = &xIdleStack[0];
  *pulIdleTaskStackSize = configMINIMAL_STACK_SIZE;
  /* place for user code */
}
/* USER CODE END GET_IDLE_TASK_MEMORY */

/************************ (C) COPYRIGHT STMicroelectronics *****END OF FILE****/
